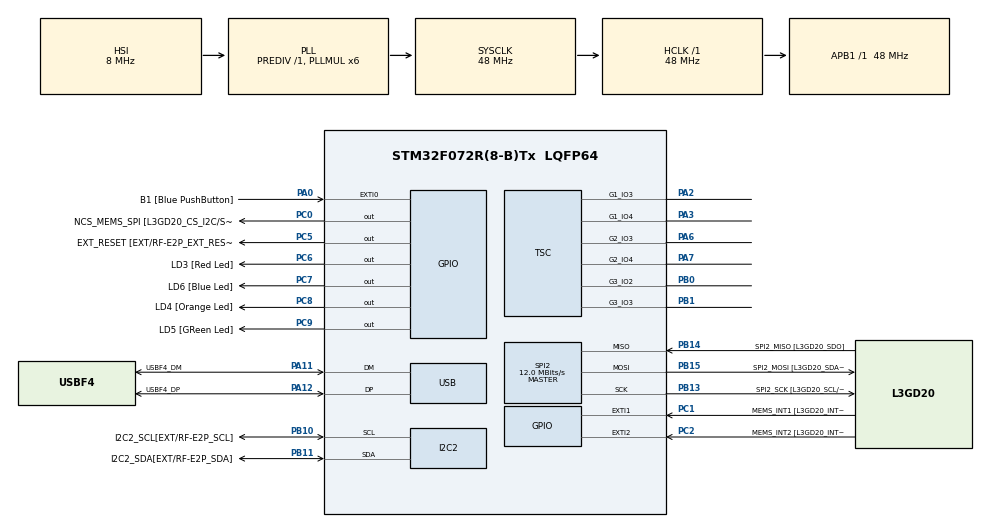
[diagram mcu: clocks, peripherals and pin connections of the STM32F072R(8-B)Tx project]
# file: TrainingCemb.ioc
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I2C2.Timing=0x20303E5D
Mcu.Family=STM32F0
Mcu.Name=STM32F072R(8-B)Tx
Mcu.Package=LQFP64
PA0.GPIO_Label=B1 [Blue PushButton]
PA0.GPIO_ModeDefaultEXTI=GPIO_MODE_EVT_RISING
PA0.Signal=GPXTI0
PA11.GPIO_Label=USBF4_DM
PA11.Mode=Device
PA11.Signal=USB_DM
PA12.GPIO_Label=USBF4_DP
PA12.Mode=Device
PA12.Signal=USB_DP
PA13.GPIO_Label=SWDIO
PA13.Mode=Serial_Wire
PA13.Signal=SYS_SWDIO
PA14.GPIO_Label=SWCLK
PA14.Mode=Serial_Wire
PA14.Signal=SYS_SWCLK
PA2.Mode=G1_IO3-Channel
PA2.Signal=TSC_G1_IO3
PA3.Mode=G1_IO4-Sampling
PA3.Signal=TSC_G1_IO4
PA6.Mode=G2_IO3-Channel
PA6.Signal=TSC_G2_IO3
PA7.Mode=G2_IO4-Sampling
PA7.Signal=TSC_G2_IO4
PB0.Mode=G3_IO2-Channel
PB0.Signal=TSC_G3_IO2
PB1.Mode=G3_IO3-Sampling
PB1.Signal=TSC_G3_IO3
PB10.GPIO_Label=I2C2_SCL[EXT/RF-E2P_SCL]
PB10.Mode=I2C
PB10.Signal=I2C2_SCL
PB11.GPIO_Label=I2C2_SDA[EXT/RF-E2P_SDA]
PB11.Mode=I2C
PB11.Signal=I2C2_SDA
PB13.GPIO_Label=SPI2_SCK [L3GD20_SCL/SPC]
PB13.Mode=Full_Duplex_Master
PB13.Signal=SPI2_SCK
PB14.GPIO_Label=SPI2_MISO [L3GD20_SDO]
PB14.Mode=Full_Duplex_Master
PB14.Signal=SPI2_MISO
PB15.GPIO_Label=SPI2_MOSI [L3GD20_SDA/SDI]
PB15.Mode=Full_Duplex_Master
PB15.Signal=SPI2_MOSI
PC0.GPIO_Label=NCS_MEMS_SPI [L3GD20_CS_I2C/SPI]
PC0.Signal=GPIO_Output
PC1.GPIO_Label=MEMS_INT1 [L3GD20_INT1]
PC1.GPIO_ModeDefaultEXTI=GPIO_MODE_EVT_RISING
PC1.Signal=GPXTI1
PC2.GPIO_Label=MEMS_INT2 [L3GD20_INT2]
PC2.GPIO_ModeDefaultEXTI=GPIO_MODE_EVT_RISING
PC2.Signal=GPXTI2
PC5.GPIO_Label=EXT_RESET [EXT/RF-E2P_EXT_RESET]
PC5.Signal=GPIO_Output
PC6.GPIO_Label=LD3 [Red Led]
PC6.Signal=GPIO_Output
PC7.GPIO_Label=LD6 [Blue Led]
PC7.Signal=GPIO_Output
PC8.GPIO_Label=LD4 [Orange Led]
PC8.Signal=GPIO_Output
PC9.GPIO_Label=LD5 [GReen Led]
PC9.Signal=GPIO_Output
ProjectManager.HeapSize=0x200
ProjectManager.StackSize=0x400
ProjectManager.TargetToolchain=STM32CubeIDE
RCC.AHBFreq_Value=48000000
RCC.APB1Freq_Value=48000000
RCC.APB1TimFreq_Value=48000000
RCC.HCLKFreq_Value=48000000
RCC.PLLMUL=RCC_PLL_MUL6
RCC.SYSCLKFreq_VALUE=48000000
RCC.SYSCLKSource=RCC_SYSCLKSOURCE_PLLCLK
SPI2.BaudRatePrescaler=SPI_BAUDRATEPRESCALER_4
SPI2.CalculateBaudRate=12.0 MBits/s
SPI2.Direction=SPI_DIRECTION_2LINES
SPI2.Mode=SPI_MODE_MASTER
SPI2.VirtualType=VM_MASTER
USB.phy_itface=PCD_PHY_EMBEDDED
USB.speed=PCD_SPEED_FULL
board=STM32F072B-DISCO

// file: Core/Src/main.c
/* USER CODE BEGIN Header */
/**
  ******************************************************************************
  * @file           : main.c
  * @brief          : Main program body
  ******************************************************************************
  * @attention
  *
  * <h2><center>&copy; Copyright (c) 2020 STMicroelectronics.
  * All rights reserved.</center></h2>
  *
  * This software component is licensed by ST under BSD 3-Clause license,
  * the "License"; You may not use this file except in compliance with the
  * License. You may obtain a copy of the License at:
  *                        opensource.org/licenses/BSD-3-Clause
  *
  ******************************************************************************
  */

  // EX3
  //vitesse + mode → structure /OK
  //run(void) /OK
  //setmode(newmode) → appui /OK

  //E3.2 >> WIP <<
  //init() → paramètres de base (!!!initGPIO!!! pin des LEDs par exemple, nb de LEDS, etc.)
  //simuler timer → run en continu : dans while(1) → appel de run(), puis func(check sur bouton), delay(25) /!\ pas de delay dans les autres fonctions
  //set(speed) → appui long ?

  // EX4
  //interrupt avec timer 50ms → run()
  //

/* USER CODE END Header */
#include "main.h"
#include "led_controller.h"

/* USER CODE BEGIN PTD */
/*
typedef struct { //EX -> décl. sous main /OK
	int mode;
	int delay;
	int pattern[PAT_MAX];
} led_controller_config;
*/

/* USER CODE END PTD */

I2C_HandleTypeDef hi2c2;

SPI_HandleTypeDef hspi2;

TSC_HandleTypeDef htsc;

PCD_HandleTypeDef hpcd_USB_FS;

//=================== PRIVATE VAR =======================
static led_controller_config config[CONF_MAX];
static int Set;
static int g_delay = 0;
static int pos = 0;
static int longPress = 0;

//void HAL_GPIO_EXTI_Callback(uint16_t GPIO_Pin);

void SystemClock_Config(void);
static void MX_GPIO_Init(void);
static void MX_I2C2_Init(void);
static void MX_SPI2_Init(void);
static void MX_TSC_Init(void);
static void MX_USB_PCD_Init(void);

//void scroll(unsigned char *,unsigned char);

int main(void) {//=========================== MAIN ===========================
  /* USER CODE BEGIN 1 */
	config[0] = (led_controller_config) {
		.mode = 0,
		.delay = 50,
		.pattern = {LED1, DELAY, LED1, LED2, DELAY, LED2, LED3, DELAY, LED3, LED4, DELAY, LED4, STOP},
		.patSize = sizeof(config[0].pattern)/sizeof(int)
		};

	config[1] = (led_controller_config) {
		.mode = 0,
		.delay = 50,
		.pattern = {LED1, DELAY, LED2, DELAY, LED3, DELAY, LED4, DELAY, LED1, LED2, LED3, LED4, DELAY, STOP},
		.patSize = sizeof(config[0].pattern)/sizeof(int)
		};

	config[2] = (led_controller_config) {
		.mode = 0,
		.delay = 50,
		.pattern = {LED1, LED2, LED3, LED4, DELAY, LED1, DELAY, LED2, DELAY, LED3, DELAY, LED4, DELAY, STOP},
		.patSize = sizeof(config[0].pattern)/sizeof(int)
		};

	config[3] = (led_controller_config) {
		.mode = 0,
		.delay = 50,
		.pattern = {LED1, DELAY, LED2, DELAY, LED1, LED3, DELAY, LED2, LED4, DELAY, LED3, LED1, DELAY, LED4, DELAY, LED1, DELAY, STOP},
		.patSize = sizeof(config[0].pattern)/sizeof(int)
		};

  /* USER CODE END 1 */

  /* MCU Configuration--------------------------------------------------------*/

  /* Reset of all peripherals, Initializes the Flash interface and the Systick. */
  HAL_Init();

  /* Configure the system clock */
  SystemClock_Config();

  /* Initialize all configured peripherals */
  MX_GPIO_Init();
  MX_I2C2_Init();
  MX_SPI2_Init();
  MX_TSC_Init();
  MX_USB_PCD_Init();

  /* USER CODE BEGIN 2 */
  //led_controller_init(*p_config);
  led_controller_Config(&Set);

  /* USER CODE END 2 */

  /* Infinite loop */
  /* USER CODE BEGIN WHILE */

  while (1) {//================================ WHILE(1) ===================================
    /* USER CODE END WHILE */
	  led_controller_run(config, &Set, &pos, &g_delay);
	  long_press(&longPress, config);
	  HAL_Delay(25); //simu timer
    /* USER CODE BEGIN 3 */

  }//=============================================================================
  /* USER CODE END 3 */
}

void HAL_GPIO_EXTI_Callback(uint16_t GPIO_Pin) { //============= CALLBACK =============

  /* Prevent unused argument(s) compilation warning */
  //UNUSED(GPIO_Pin);

	pos = -2;
	g_delay = 0;
	change_set(&Set);
}

void SystemClock_Config(void)
{
  RCC_OscInitTypeDef RCC_OscInitStruct = {0};
  RCC_ClkInitTypeDef RCC_ClkInitStruct = {0};
  RCC_PeriphCLKInitTypeDef PeriphClkInit = {0};

  /** Initializes the RCC Oscillators according to the specified parameters
  * in the RCC_OscInitTypeDef structure.
  */
  RCC_OscInitStruct.OscillatorType = RCC_OSCILLATORTYPE_HSI|RCC_OSCILLATORTYPE_HSI48;
  RCC_OscInitStruct.HSIState = RCC_HSI_ON;
  RCC_OscInitStruct.HSI48State = RCC_HSI48_ON;
  RCC_OscInitStruct.HSICalibrationValue = RCC_HSICALIBRATION_DEFAULT;
  RCC_OscInitStruct.PLL.PLLState = RCC_PLL_ON;
  RCC_OscInitStruct.PLL.PLLSource = RCC_PLLSOURCE_HSI;
  RCC_OscInitStruct.PLL.PLLMUL = RCC_PLL_MUL6;
  RCC_OscInitStruct.PLL.PREDIV = RCC_PREDIV_DIV1;
  if (HAL_RCC_OscConfig(&RCC_OscInitStruct) != HAL_OK)
  {
    Error_Handler();
  }
  /** Initializes the CPU, AHB and APB buses clocks
  */
  RCC_ClkInitStruct.ClockType = RCC_CLOCKTYPE_HCLK|RCC_CLOCKTYPE_SYSCLK
                              |RCC_CLOCKTYPE_PCLK1;
  RCC_ClkInitStruct.SYSCLKSource = RCC_SYSCLKSOURCE_PLLCLK;
  RCC_ClkInitStruct.AHBCLKDivider = RCC_SYSCLK_DIV1;
  RCC_ClkInitStruct.APB1CLKDivider = RCC_HCLK_DIV1;

  if (HAL_RCC_ClockConfig(&RCC_ClkInitStruct, FLASH_LATENCY_1) != HAL_OK)
  {
    Error_Handler();
  }
  PeriphClkInit.PeriphClockSelection = RCC_PERIPHCLK_USB;
  PeriphClkInit.UsbClockSelection = RCC_USBCLKSOURCE_HSI48;

  if (HAL_RCCEx_PeriphCLKConfig(&PeriphClkInit) != HAL_OK)
  {
    Error_Handler();
  }
}

static void MX_I2C2_Init(void)
{

  hi2c2.Instance = I2C2;
  hi2c2.Init.Timing = 0x20303E5D;
  hi2c2.Init.OwnAddress1 = 0;
  hi2c2.Init.AddressingMode = I2C_ADDRESSINGMODE_7BIT;
  hi2c2.Init.DualAddressMode = I2C_DUALADDRESS_DISABLE;
  hi2c2.Init.OwnAddress2 = 0;
  hi2c2.Init.OwnAddress2Masks = I2C_OA2_NOMASK;
  hi2c2.Init.GeneralCallMode = I2C_GENERALCALL_DISABLE;
  hi2c2.Init.NoStretchMode = I2C_NOSTRETCH_DISABLE;
  if (HAL_I2C_Init(&hi2c2) != HAL_OK)
  {
    Error_Handler();
  }
  /** Configure Analogue filter
  */
  if (HAL_I2CEx_ConfigAnalogFilter(&hi2c2, I2C_ANALOGFILTER_ENABLE) != HAL_OK)
  {
    Error_Handler();
  }
  /** Configure Digital filter
  */
  if (HAL_I2CEx_ConfigDigitalFilter(&hi2c2, 0) != HAL_OK)
  {
    Error_Handler();
  }

}

static void MX_SPI2_Init(void)
{

  /* SPI2 parameter configuration*/
  hspi2.Instance = SPI2;
  hspi2.Init.Mode = SPI_MODE_MASTER;
  hspi2.Init.Direction = SPI_DIRECTION_2LINES;
  hspi2.Init.DataSize = SPI_DATASIZE_4BIT;
  hspi2.Init.CLKPolarity = SPI_POLARITY_LOW;
  hspi2.Init.CLKPhase = SPI_PHASE_1EDGE;
  hspi2.Init.NSS = SPI_NSS_SOFT;
  hspi2.Init.BaudRatePrescaler = SPI_BAUDRATEPRESCALER_4;
  hspi2.Init.FirstBit = SPI_FIRSTBIT_MSB;
  hspi2.Init.TIMode = SPI_TIMODE_DISABLE;
  hspi2.Init.CRCCalculation = SPI_CRCCALCULATION_DISABLE;
  hspi2.Init.CRCPolynomial = 7;
  hspi2.Init.CRCLength = SPI_CRC_LENGTH_DATASIZE;
  hspi2.Init.NSSPMode = SPI_NSS_PULSE_ENABLE;
  if (HAL_SPI_Init(&hspi2) != HAL_OK)
  {
    Error_Handler();
  }

}

static void MX_TSC_Init(void)
{

  /** Configure the TSC peripheral
  */
  htsc.Instance = TSC;
  htsc.Init.CTPulseHighLength = TSC_CTPH_2CYCLES;
  htsc.Init.CTPulseLowLength = TSC_CTPL_2CYCLES;
  htsc.Init.SpreadSpectrum = DISABLE;
  htsc.Init.SpreadSpectrumDeviation = 1;
  htsc.Init.SpreadSpectrumPrescaler = TSC_SS_PRESC_DIV1;
  htsc.Init.PulseGeneratorPrescaler = TSC_PG_PRESC_DIV4;
  htsc.Init.MaxCountValue = TSC_MCV_8191;
  htsc.Init.IODefaultMode = TSC_IODEF_OUT_PP_LOW;
  htsc.Init.SynchroPinPolarity = TSC_SYNC_POLARITY_FALLING;
  htsc.Init.AcquisitionMode = TSC_ACQ_MODE_NORMAL;
  htsc.Init.MaxCountInterrupt = DISABLE;
  htsc.Init.ChannelIOs = TSC_GROUP1_IO3|TSC_GROUP2_IO3|TSC_GROUP3_IO2;
  htsc.Init.ShieldIOs = 0;
  htsc.Init.SamplingIOs = TSC_GROUP1_IO4|TSC_GROUP2_IO4|TSC_GROUP3_IO3;
  if (HAL_TSC_Init(&htsc) != HAL_OK)
  {
    Error_Handler();
  }

}

static void MX_USB_PCD_Init(void)
{

  hpcd_USB_FS.Instance = USB;
  hpcd_USB_FS.Init.dev_endpoints = 8;
  hpcd_USB_FS.Init.speed = PCD_SPEED_FULL;
  hpcd_USB_FS.Init.phy_itface = PCD_PHY_EMBEDDED;
  hpcd_USB_FS.Init.low_power_enable = DISABLE;
  hpcd_USB_FS.Init.lpm_enable = DISABLE;
  hpcd_USB_FS.Init.battery_charging_enable = DISABLE;
  if (HAL_PCD_Init(&hpcd_USB_FS) != HAL_OK)
  {
    Error_Handler();
  }

}

static void MX_GPIO_Init(void) //================== GPIO INIT ====================
{
  GPIO_InitTypeDef GPIO_InitStruct = {0};

  /* GPIO Ports Clock Enable */
  __HAL_RCC_GPIOC_CLK_ENABLE();
  __HAL_RCC_GPIOA_CLK_ENABLE();
  __HAL_RCC_GPIOB_CLK_ENABLE();

  /*Configure GPIO pin Output Level */
  HAL_GPIO_WritePin(GPIOC, NCS_MEMS_SPI_Pin|EXT_RESET_Pin|LD3_Pin|LD6_Pin
                          |LD4_Pin|LD5_Pin, GPIO_PIN_RESET);

  /*Configure GPIO pins : NCS_MEMS_SPI_Pin EXT_RESET_Pin LD3_Pin LD6_Pin
                           LD4_Pin LD5_Pin */
  GPIO_InitStruct.Pin = NCS_MEMS_SPI_Pin|EXT_RESET_Pin|LD3_Pin|LD6_Pin
                          |LD4_Pin|LD5_Pin;
  GPIO_InitStruct.Mode = GPIO_MODE_OUTPUT_PP;
  GPIO_InitStruct.Pull = GPIO_NOPULL;
  GPIO_InitStruct.Speed = GPIO_SPEED_FREQ_LOW;
  HAL_GPIO_Init(GPIOC, &GPIO_InitStruct);

  /*Configure GPIO pins : MEMS_INT1_Pin MEMS_INT2_Pin */
  GPIO_InitStruct.Pin = MEMS_INT1_Pin|MEMS_INT2_Pin;
  GPIO_InitStruct.Mode = GPIO_MODE_EVT_RISING;
  GPIO_InitStruct.Pull = GPIO_NOPULL;
  HAL_GPIO_Init(GPIOC, &GPIO_InitStruct);

  /*Configure GPIO pin : B1_Pin */ //=============== INIT B1 ===================
  GPIO_InitStruct.Pin = B1_Pin;

  GPIO_InitStruct.Mode = GPIO_MODE_IT_RISING;
  //GPIO_InitStruct.Mode = GPIO_MODE_EVT_RISING;

  GPIO_InitStruct.Pull = GPIO_NOPULL;
  HAL_GPIO_Init(B1_GPIO_Port, &GPIO_InitStruct);

  HAL_NVIC_SetPriority(EXTI0_1_IRQn, 2, 0); //====== INIT NVIC ========
  HAL_NVIC_EnableIRQ(EXTI0_1_IRQn);

}

void Error_Handler(void)
{
}

/************************ (C) COPYRIGHT STMicroelectronics *****END OF FILE****/
